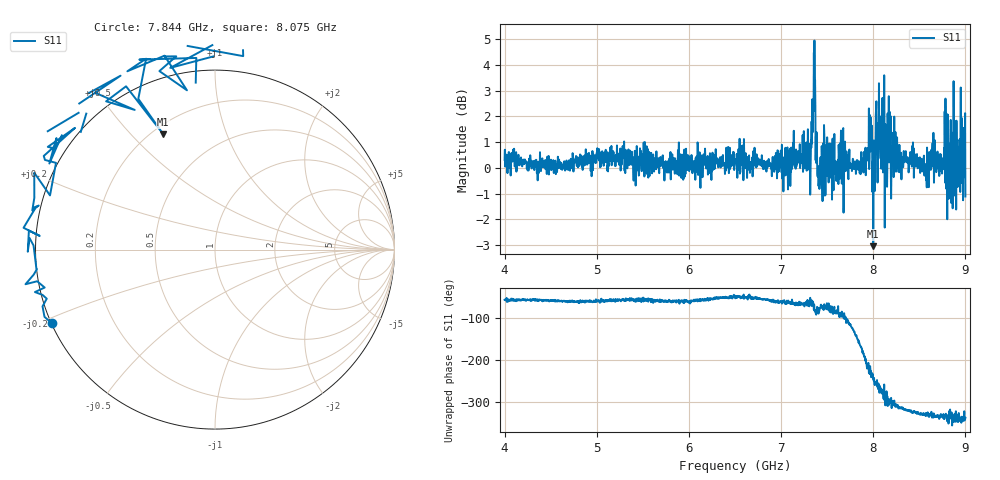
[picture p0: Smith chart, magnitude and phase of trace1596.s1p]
! Created with skrf 1.8.0 (http://scikit-rf.org).
# Hz S RI R 50.0
!freq ReS11 ImS11
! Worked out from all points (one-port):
!   1601 points, 4 GHz to 9 GHz, reference 50 ohm
!   lowest |S11| = -3.0 dB at 8 GHz (marker M1), VSWR 5.76, Z = 12.2 + j31 ohm
!   |S11| at or under -10 dB: nowhere
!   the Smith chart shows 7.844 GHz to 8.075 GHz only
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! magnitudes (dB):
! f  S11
! 4 GHz  0.3
! 4.625 GHz  -0.1
! 5.25 GHz  0.2
! 5.875 GHz  -0.2
! 6.5 GHz  0.2
! 7.125 GHz  0.2
! 7.303 GHz  -0.1
! 7.353 GHz  2.6
! 7.378 GHz  1.2
! 7.4 GHz  0.0
! 7.425 GHz  0.0
! 7.512 GHz  0.9
! 7.609 GHz  -0.4
! 7.65 GHz  1.5
! 7.75 GHz  0.1
! 7.869 GHz  0.6
! 7.962 GHz  2.1
! 8 GHz  -3.0
! 8.05 GHz  1.7
! 8.066 GHz  1.0
! 8.097 GHz  0.9
! 8.216 GHz  1.4
! 8.375 GHz  0.3
! 8.578 GHz  -0.3
! 8.631 GHz  0.7
! 8.919 GHz  -0.3
! 8.972 GHz  0.8
! 9 GHz  -1.1
